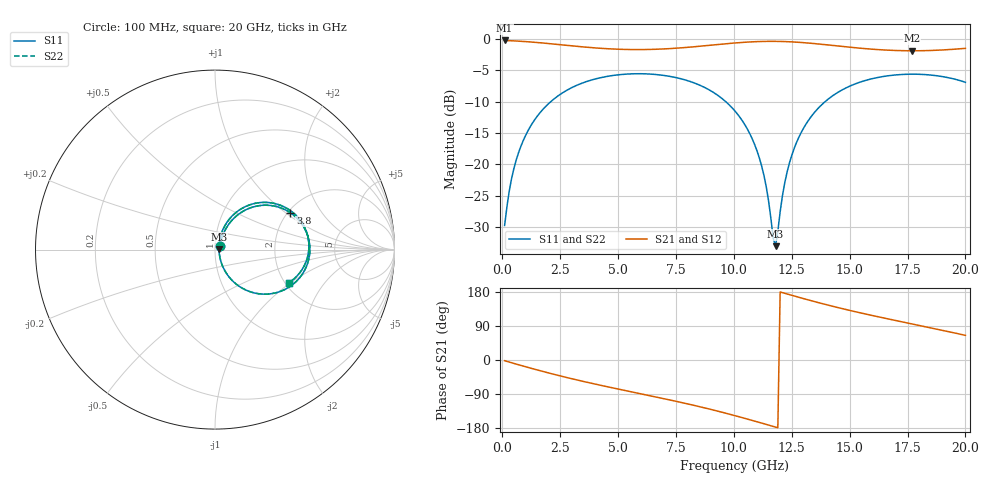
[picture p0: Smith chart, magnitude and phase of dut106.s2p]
! Touchstone file exported from HFSS 2026.1.0
!  File:  C:/ffzhzh/LocalFiles/Ansys_Project_Files/temp_train_TSV_RDL_106_1783045054_18316.aedt
!  Generated:  10:34:24 AM Jul  3, 2026
!  Design:  TSV_RDL
!  Project:  temp_train_TSV_RDL_106_1783045054_18316
! Variables:
!  h_bsmrdl = 2.65um
!  h_ox = 20um
!  h_rdl = 5um
!  h_sub = 96.09um
!  h_tmrdl = 2.32um
!  h_tsv = 96.09um
!  h_via = 3um
!  l_bsmrdl = 141.81um
!  l_sub = 4916.39um
!  l_tmrdl = 981.85um
!  m_sub = 200um
!  pitch = 54.86um
!  r_tsv = 6.09um
!  s_tmrdl = 10um
!  w_bsmrdl = 27.66um
!  w_sub = 500um
!  w_tmrdl = 26.86um
!  x_tsv_center1 = 995.28um
!  x_tsv_center2 = 1164.75um
!  x_tsv_center3 = 2173.46um
!  x_tsv_center4 = 2342.93um
!  x_tsv_center5 = 3351.64um
!  x_tsv_center6 = 3521.11um
# GHz S MA R 50.000000
! Terminal data exported
! Port[1] = TM_RDL1_1_T1
! Port[2] = TM_RDL5_1_T1
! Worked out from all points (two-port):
!   200 points, 100 MHz to 20 GHz, reference 50 ohm
!   highest |S21| = -0.24 dB at 100 MHz (marker M1); lowest = -1.9 dB at 17.7 GHz (marker M2)
!   |S21| within 3 dB of the highest: start of sweep to end of sweep
!   lowest |S11| = -33.0 dB at 11.8 GHz (marker M3), VSWR 1.05, Z = 52.3 + j0.359 ohm
!   |S11| at or under -10 dB: start of sweep to 2.091 GHz; 9.652 GHz to 13.94 GHz (4.288 GHz wide, 36.3 % of centre)
!   |S22| runs from -32.9 to -5.5 dB; largest |S21 - S12| = 1.6e-14
!   S11 on the Smith chart (normalised r, x): 100 MHz: 1.06, +0.04; 3.8 GHz: 2.07, +1.08; 20 GHz: 2.10, -0.97
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0.1  0.03262 32.8  0.973 -1.9  0.973 -1.9  0.03262 32.8
! Gamma 0 0 0 0
! Port Impedance 50 0 50 0
0.5  0.09262 61.6  0.9655 -9.1  0.9655 -9.1  0.09261 61.6
1.1  0.1841 60.3  0.9503 -19.4  0.9503 -19.4  0.1841 60.3
2.1  0.3173 48.3  0.9156 -35.8  0.9156 -35.8  0.3173 48.3
3.5  0.4483 29.8  0.8638 -56.6  0.8638 -56.6  0.4483 29.8
3.8  0.4677 25.9  0.8544 -60.7  0.8544 -60.7  0.4677 26.0
5.3  0.5238 7.3  0.8251 -80.5  0.8251 -80.5  0.5238 7.3
6.8  0.517 -11.0  0.8299 -99.7  0.8299 -99.7  0.5171 -11.0
8.6  0.4223 -34.3  0.8773 -124.3  0.8773 -124.3  0.4223 -34.3
10.1  0.2596 -55.2  0.9307 -147.7  0.9307 -147.7  0.2596 -55.1
11.1  0.1128 -65.4  0.9539 -164.7  0.9539 -164.7  0.1129 -65.3
11.4  0.06621 -62.3  0.9568 -170.0  0.9568 -170.0  0.06634 -62.1
11.7  0.02587 -28.3  0.9574 -175.3  0.9574 -175.3  0.02614 -28.0
11.8  0.0223 8.9  0.957 -177.0  0.957 -177.0  0.02258 8.6
12.1  0.05639 63.1  0.9546 177.7  0.9546 177.7  0.05646 62.8
12.4  0.1024 68.6  0.9499 172.4  0.9499 172.4  0.1025 68.4
12.8  0.1635 66.6  0.9407 165.6  0.9407 165.6  0.1635 66.4
13.4  0.2488 59.4  0.9216 155.5  0.9216 155.5  0.2487 59.4
14.9  0.412 39.0  0.8635 132.4  0.8635 132.4  0.412 39.0
16.7  0.51 16.1  0.8133 107.9  0.8133 107.9  0.51 16.1
17.7  0.524 4.1  0.8049 95.2  0.8049 95.2  0.524 4.1
20  0.4513 -24.0  0.842 65.0  0.842 65.0  0.4513 -24.1
